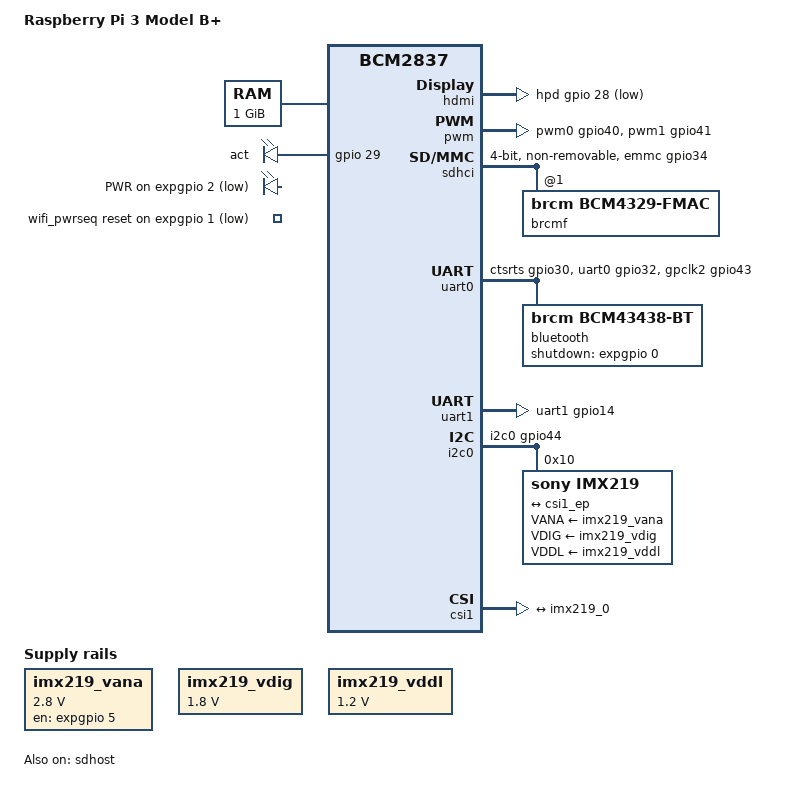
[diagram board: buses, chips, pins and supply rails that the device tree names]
// SPDX-License-Identifier: GPL-2.0
/dts-v1/;
#include "bcm2837.dtsi"
#include "bcm2836-rpi.dtsi"
#include "bcm283x-rpi-lan7515.dtsi"
#include "bcm283x-rpi-usb-host.dtsi"

/ {
	compatible = "raspberrypi,3-model-b-plus", "brcm,bcm2837";
	model = "Raspberry Pi 3 Model B+";

	chosen {
		/* 8250 auxiliary UART instead of pl011 */
		stdout-path = "serial1:115200n8";
	};

	memory@0 {
		device_type = "memory";
		reg = <0 0x40000000>;
	};

	leds {
		act {
			gpios = <&gpio 29 GPIO_ACTIVE_HIGH>;
		};

		pwr {
			label = "PWR";
			gpios = <&expgpio 2 GPIO_ACTIVE_LOW>;
		};
	};

	wifi_pwrseq: wifi-pwrseq {
		compatible = "mmc-pwrseq-simple";
		reset-gpios = <&expgpio 1 GPIO_ACTIVE_LOW>;
	};
};

&firmware {
	expgpio: gpio {
		compatible = "raspberrypi,firmware-gpio";
		gpio-controller;
		#gpio-cells = <2>;
		gpio-line-names = "BT_ON",
				  "WL_ON",
				  "STATUS_LED_R",
				  "LAN_RUN",
				  "",
				  "CAM_GPIO0",
				  "CAM_GPIO1",
				  "";
		status = "okay";
	};
};

&gpio {
	/*
	 * Taken from rpi_SCH_3bplus_1p0_reduced.pdf and
	 * the official GPU firmware DT blob.
	 *
	 * Legend:
	 * "NC" = not connected (no rail from the SoC)
	 * "FOO" = GPIO line named "FOO" on the schematic
	 * "FOO_N" = GPIO line named "FOO" on schematic, active low
	 */
	gpio-line-names = "ID_SDA",
			  "ID_SCL",
			  "SDA1",
			  "SCL1",
			  "GPIO_GCLK",
			  "GPIO5",
			  "GPIO6",
			  "SPI_CE1_N",
			  "SPI_CE0_N",
			  "SPI_MISO",
			  "SPI_MOSI",
			  "SPI_SCLK",
			  "GPIO12",
			  "GPIO13",
			  /* Serial port */
			  "TXD1",
			  "RXD1",
			  "GPIO16",
			  "GPIO17",
			  "GPIO18",
			  "GPIO19",
			  "GPIO20",
			  "GPIO21",
			  "GPIO22",
			  "GPIO23",
			  "GPIO24",
			  "GPIO25",
			  "GPIO26",
			  "GPIO27",
			  "HDMI_HPD_N",
			  "STATUS_LED_G",
			  /* Used by BT module */
			  "CTS0",
			  "RTS0",
			  "TXD0",
			  "RXD0",
			  /* Used by Wifi */
			  "SD1_CLK",
			  "SD1_CMD",
			  "SD1_DATA0",
			  "SD1_DATA1",
			  "SD1_DATA2",
			  "SD1_DATA3",
			  "PWM0_OUT",
			  "PWM1_OUT",
			  "ETHCLK",
			  "WIFI_CLK",
			  "SDA0",
			  "SCL0",
			  "SMPS_SCL",
			  "SMPS_SDA",
			  /* Used by SD Card */
			  "SD_CLK_R",
			  "SD_CMD_R",
			  "SD_DATA0_R",
			  "SD_DATA1_R",
			  "SD_DATA2_R",
			  "SD_DATA3_R";
};

&hdmi {
	hpd-gpios = <&gpio 28 GPIO_ACTIVE_LOW>;
	power-domains = <&power RPI_POWER_DOMAIN_HDMI>;
	status = "okay";
};

&pwm {
	pinctrl-names = "default";
	pinctrl-0 = <&pwm0_gpio40 &pwm1_gpio41>;
	status = "okay";
};

/* SDHCI is used to control the SDIO for wireless */
&sdhci {
	#address-cells = <1>;
	#size-cells = <0>;
	pinctrl-names = "default";
	pinctrl-0 = <&emmc_gpio34>;
	status = "okay";
	bus-width = <4>;
	non-removable;
	mmc-pwrseq = <&wifi_pwrseq>;

	brcmf: wifi@1 {
		reg = <1>;
		compatible = "brcm,bcm4329-fmac";
	};
};

/* SDHOST is used to drive the SD card */
&sdhost {
	pinctrl-names = "default";
	pinctrl-0 = <&sdhost_gpio48>;
	status = "okay";
	bus-width = <4>;
};

/* uart0 communicates with the BT module */
&uart0 {
	pinctrl-names = "default";
	pinctrl-0 = <&uart0_ctsrts_gpio30 &uart0_gpio32 &gpclk2_gpio43>;
	status = "okay";

	bluetooth {
		compatible = "brcm,bcm43438-bt";
		max-speed = <2000000>;
		shutdown-gpios = <&expgpio 0 GPIO_ACTIVE_HIGH>;
	};
};

/* uart1 is mapped to the pin header */
&uart1 {
	pinctrl-names = "default";
	pinctrl-0 = <&uart1_gpio14>;
	status = "okay";
};

&i2c0 {
	#address-cells = <1>;
	#size-cells = <0>;
	status = "okay";

	pinctrl-0 = <&i2c0_gpio44>;

	imx219: imx219@10 {
		compatible = "sony,imx219";
		reg = <0x10>;
		status = "okay";

		clocks = <&imx219_clk>;
		clock-names = "xclk";

		VANA-supply = <&imx219_vana>;	/* 2.8v */
		VDIG-supply = <&imx219_vdig>;	/* 1.8v */
		VDDL-supply = <&imx219_vddl>;	/* 1.2v */

		imx219_clk: camera-clk {
			compatible = "fixed-clock";
			#clock-cells = <0>;
			clock-frequency = <24000000>;
		};

		port {
			imx219_0: endpoint {
				remote-endpoint = <&csi1_ep>;
				clock-lanes = <0>;
				data-lanes = <1 2>;
				clock-noncontinuous;
				link-frequencies =
					/bits/ 64 <297000000>;
			};
		};
	};
};

&csi1 {
	status = "okay";

	port {
		csi1_ep: endpoint {
			remote-endpoint = <&imx219_0>;
			clock-lanes = <0>;
			data-lanes = <1 2>;
			clock-noncontinuous;
			bus-type = <4>;
		};
	};
};

/ {
	imx219_vana: fixedregulator@0 {
		compatible = "regulator-fixed";
		regulator-name = "imx219_vana";
		regulator-min-microvolt = <2800000>;
		regulator-max-microvolt = <2800000>;
		gpio = <&expgpio 5 GPIO_ACTIVE_HIGH>;
		enable-active-high;
	};
	imx219_vdig: fixedregulator@1 {
		compatible = "regulator-fixed";
		regulator-name = "imx219_vdig";
		regulator-min-microvolt = <1800000>;
		regulator-max-microvolt = <1800000>;
	};
	imx219_vddl: fixedregulator@2 {
		compatible = "regulator-fixed";
		regulator-name = "imx219_vddl";
		regulator-min-microvolt = <1200000>;
		regulator-max-microvolt = <1200000>;
	};
};
